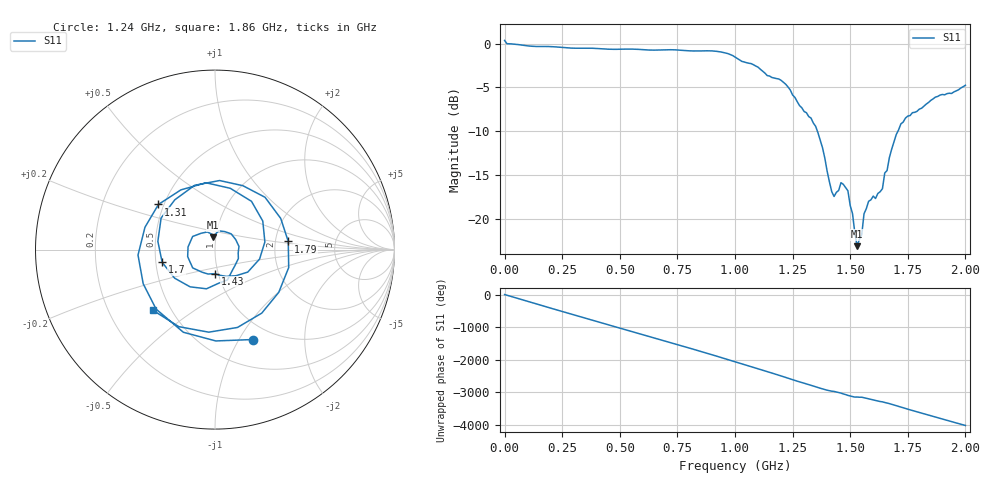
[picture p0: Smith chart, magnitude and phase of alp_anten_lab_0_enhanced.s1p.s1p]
#  HZ  S  RI  R  50.00
! Rohde & Schwarz Vector Network Analyzer
! Rohde-Schwarz,ZNB8-4Port,REDACTED,3.12
! Created: UTC 3/17/2026, 11:53:54 PM
! freq[Hz]  re:S11  im:S11
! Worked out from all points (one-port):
!   201 points, 10 kHz to 2 GHz, reference 50 ohm
!   lowest |S11| = -23.1 dB at 1.53 GHz (marker M1), VSWR 1.15, Z = 48.4 + j6.68 ohm
!   |S11| at or under -10 dB: 1.358 GHz to 1.707 GHz (349.6 MHz wide, 22.8 % of centre)
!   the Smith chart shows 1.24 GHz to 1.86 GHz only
!   S11 on the Smith chart (normalised r, x): 1.24 GHz: 0.81, -1.15; 1.31 GHz: 0.47, +0.28; 1.43 GHz: 0.97, -0.26; 1.7 GHz: 0.54, -0.08; 1.79 GHz: 2.36, +0.26; 1.86 GHz: 0.40, -0.35
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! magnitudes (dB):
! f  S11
! 10 kHz  0.4
! 250 MHz  -0.4
! 500 MHz  -0.6
! 750 MHz  -0.7
! 1 GHz  -1.5
! 1.24 GHz  -5.3
! 1.25 GHz  -5.9
! 1.31 GHz  -7.9
! 1.36 GHz  -10.2
! 1.38 GHz  -11.9
! 1.42 GHz  -16.9
! 1.43 GHz  -17.5
! 1.46 GHz  -15.9
! 1.49 GHz  -16.8
! 1.5 GHz  -18.5
! 1.51 GHz  -19.4
! 1.53 GHz  -23.1
! 1.55 GHz  -21.8
! 1.56 GHz  -19.4
! 1.58 GHz  -18.0
! 1.64 GHz  -16.6
! 1.65 GHz  -14.8
! 1.66 GHz  -14.5
! 1.7 GHz  -10.4
! 1.75 GHz  -8.3
! 1.79 GHz  -7.7
! 1.86 GHz  -6.3
! 2 GHz  -4.8
